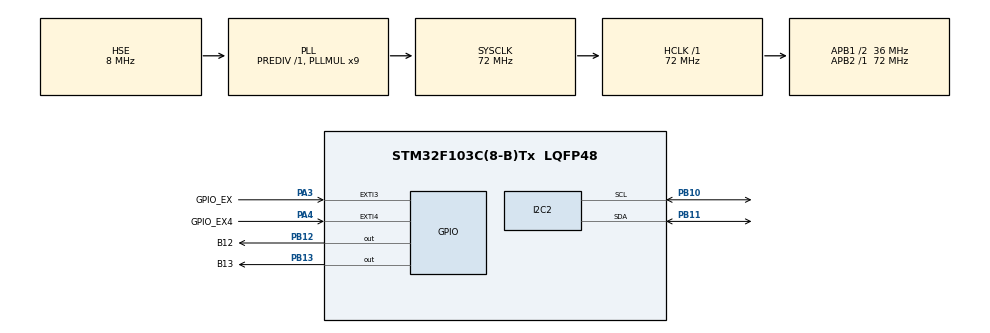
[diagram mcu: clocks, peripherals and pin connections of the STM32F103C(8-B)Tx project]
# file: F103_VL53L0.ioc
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Mcu.Family=STM32F1
Mcu.Name=STM32F103C(8-B)Tx
Mcu.Package=LQFP48
NVIC.EXTI3_IRQn=true\:0\:0\:false\:false\:true\:true\:true\:true
NVIC.EXTI4_IRQn=true\:0\:0\:false\:false\:true\:true\:true\:true
NVIC.PriorityGroup=NVIC_PRIORITYGROUP_4
PA13.Mode=Serial_Wire
PA13.Signal=SYS_JTMS-SWDIO
PA14.Mode=Serial_Wire
PA14.Signal=SYS_JTCK-SWCLK
PA3.GPIO_Label=GPIO_EX
PA3.GPIO_ModeDefaultEXTI=GPIO_MODE_IT_FALLING
PA3.GPIO_PuPd=GPIO_PULLUP
PA3.Signal=GPXTI3
PA4.GPIO_Label=GPIO_EX4
PA4.GPIO_ModeDefaultEXTI=GPIO_MODE_IT_FALLING
PA4.GPIO_PuPd=GPIO_PULLUP
PA4.Signal=GPXTI4
PB10.Mode=I2C
PB10.Signal=I2C2_SCL
PB11.Mode=I2C
PB11.Signal=I2C2_SDA
PB12.GPIO_Label=B12
PB12.Signal=GPIO_Output
PB13.GPIO_Label=B13
PB13.Signal=GPIO_Output
PD0-OSC_IN.Mode=HSE-External-Oscillator
PD0-OSC_IN.Signal=RCC_OSC_IN
PD1-OSC_OUT.Mode=HSE-External-Oscillator
PD1-OSC_OUT.Signal=RCC_OSC_OUT
ProjectManager.HeapSize=0x200
ProjectManager.StackSize=0x400
ProjectManager.TargetToolchain=STM32CubeIDE
RCC.ADCPresc=RCC_ADCPCLK2_DIV6
RCC.AHBFreq_Value=72000000
RCC.APB1CLKDivider=RCC_HCLK_DIV2
RCC.APB1Freq_Value=36000000
RCC.APB1TimFreq_Value=72000000
RCC.APB2Freq_Value=72000000
RCC.APB2TimFreq_Value=72000000
RCC.HCLKFreq_Value=72000000
RCC.PLLMUL=RCC_PLL_MUL9
RCC.PLLSourceVirtual=RCC_PLLSOURCE_HSE
RCC.SYSCLKFreq_VALUE=72000000
RCC.SYSCLKSource=RCC_SYSCLKSOURCE_PLLCLK
RCC.USBFreq_Value=72000000
board=custom

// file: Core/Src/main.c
/* USER CODE BEGIN Header */
/**
  ******************************************************************************
  * @file           : main.c
  * @brief          : Main program body
  ******************************************************************************
  * @attention
  *
  * Copyright (c) 2026 STMicroelectronics.
  * All rights reserved.
  *
  * This software is licensed under terms that can be found in the LICENSE file
  * in the root directory of this software component.
  * If no LICENSE file comes with this software, it is provided AS-IS.
  *
  ******************************************************************************
  */
/* USER CODE END Header */
#include "main.h"

/* USER CODE BEGIN Includes */
#include "vl53l0x_api.h"
#include <stdio.h>

/* USER CODE END Includes */

I2C_HandleTypeDef hi2c2;

/* USER CODE BEGIN PV */

volatile uint8_t  vl53_ready[2] = {0, 0};
volatile uint32_t vl53_irq_cnt[2] = {0, 0};

/* USER CODE END PV */

void SystemClock_Config(void);
static void MX_GPIO_Init(void);
static void MX_I2C2_Init(void);
/* USER CODE BEGIN PFP */
extern void initialise_monitor_handles(void);
/* USER CODE END PFP */

/* USER CODE BEGIN 0 */
VL53L0X_Dev_t MyDevice;
VL53L0X_DEV my_vl53 = &MyDevice;
VL53L0X_Dev_t MyDevice2;
VL53L0X_DEV my_vl53_2 = &MyDevice2;
VL53L0X_Error vl53_err;

void ready_vl53_continue(VL53L0X_DEV dev)
{
	VL53L0X_Error err;
	err = VL53L0X_SetDeviceMode(dev, VL53L0X_DEVICEMODE_CONTINUOUS_RANGING);
	printf("VL53L0X_SetDeviceMode : %d\r\n", err);
	VL53L0X_StartMeasurement(dev);
}

void ready_vl53_newMasure(VL53L0X_DEV dev)
{
	VL53L0X_Error err;
	err = VL53L0X_SetDeviceMode(dev, VL53L0X_DEVICEMODE_CONTINUOUS_RANGING);
	printf("VL53L0X_SetDeviceMode : %d\r\n", err);
	VL53L0X_StartMeasurement(dev);
}

void read_vl53_newMasure(VL53L0X_DEV dev, int idx)
{
	VL53L0X_Error err;
	VL53L0X_RangingMeasurementData_t res = {0};

	while(vl53_irq_cnt[idx] > 0)
	{
		err = VL53L0X_GetRangingMeasurementData(dev, &res);
		if(!err)
			VL53L0X_ClearInterruptMask(dev, 0);

		if(res.RangeStatus == 0 && err == 0)
		{
			printf("[%#x]Dist %d mm (stat:%d)\r\n", dev->I2cDevAddr, res.RangeMilliMeter, res.RangeStatus);
		}
		else
		{
			printf("[%#x] Dist(Err) %d mm (stat:%d)\r\n", dev->I2cDevAddr, res.RangeMilliMeter, res.RangeStatus);
		}

		vl53_irq_cnt[idx]--;
	}
	vl53_ready[idx] = 0;
}

void read_vl53(VL53L0X_DEV dev)
{
	VL53L0X_Error err;
	VL53L0X_RangingMeasurementData_t res = {0};

	err = VL53L0X_PerformSingleRangingMeasurement(dev, &res);
//	printf("Ranging measurement: %d\r\n", err);
	if(res.RangeStatus == 0 && err == 0)
	{
		printf("[%#x]Dist %d mm (stat:%d)\r\n", dev->I2cDevAddr, res.RangeMilliMeter, res.RangeStatus);
	}
	else
	{
		printf("[%#x] Dist(Err) %d mm (stat:%d)\r\n", dev->I2cDevAddr, res.RangeMilliMeter, res.RangeStatus);
	}

	/*
	 * NOTE 09.20 자꾸 측정오류 2가 나옴
	 * RangeMillimeter(밀리미터연산값)가 자꾸 200 배수로만 나옴
	 *
	 * 257 514 771 좌우 바이트 같음
	 * 257 00000001 00000001
	 * 514 00000010 00000010
	 * 771 00000011 00000011
	 *
	 *single 1E:02 1F:6C => 620
	 *Dist 514 mm (stat:0)
	 *>>>>> st:0 : 5B 06 AE 04 02 89 00 C8 00 1A 02 02
	 *
	 *single 1E:03 1F:4B => 843
	 *Dist 771 mm (stat:0)
	 *>>>>> st:0 : 5B 06 AE 04 02 3B 00 AF 00 1A 03 03
	 *
	 *hi값이 12번째 비트에 복사됨, 길이 16정도로 늘려보니 마지막이 비긴 해도 11 12번째는 잘 들어오는듯
	 *
	 */

	//	printf("raw sig:%lu spad:%lu\r\n", res.SignalRateRtnMegaCps, res.EffectiveSpadRtnCount);
//    uint8_t hi = 0, lo = 0;
//    uint8_t blk[16] = {0};
//    int blk_len = sizeof(blk)/sizeof(blk[0]);
//    VL53L0X_RdByte(dev, 0x1E, &hi); // 10 11번 인덱스 읽어서 뭐 하는듯 함
//    VL53L0X_RdByte(dev, 0x1F, &lo);
//
//    printf("single 1E:%02X 1F:%02X => %d \r\n", hi, lo, (hi<<8)|lo);
//
//    VL53L0X_ReadMulti(dev, 0x14, blk, blk_len); // 시작위치부터 다읽어보기
//    printf("blk:");
//    for (int i = 0; i < blk_len; i++)
//    	printf(" %02X", blk[i]);
//
//    printf("\r\n-----------------\r\n");

// =========== DEBUG END =========================

//	VL53L0X_StopMeasurement(dev);
}

void xshut_set(GPIO_TypeDef* port, uint16_t pin)
{
	HAL_GPIO_WritePin(port, pin, GPIO_PIN_RESET);
	HAL_Delay(10);
	HAL_GPIO_WritePin(port, pin, GPIO_PIN_SET);
	HAL_Delay(10);
}

/* USER CODE END 0 */

int main(void)
{

  /* USER CODE BEGIN 1 */
	initialise_monitor_handles();
  /* USER CODE END 1 */

  /* MCU Configuration--------------------------------------------------------*/

  /* Reset of all peripherals, Initializes the Flash interface and the Systick. */
  HAL_Init();

  /* Configure the system clock */
  SystemClock_Config();

  /* Initialize all configured peripherals */
  MX_GPIO_Init();
  MX_I2C2_Init();
  /* USER CODE BEGIN 2 */
  // #1 적외선 준비 0x60
  // xshut on
  xshut_set(B12_GPIO_Port, B12_Pin);

  // Device Init
  my_vl53->I2cDevAddr = 0x52;
  vl53_err = VL53L0X_DataInit(my_vl53);
  printf("DataInit: %d\r\n", vl53_err);
  vl53_err = VL53L0X_StaticInit(my_vl53);
  printf("StaticInit: %d\r\n", vl53_err);

  vl53_err = VL53L0X_SetDeviceAddress(my_vl53, 0x60);
  printf("SetDeviceAddress: %d\r\n", vl53_err);
  my_vl53->I2cDevAddr = 0x60;

  // set Dev Mode
//  VL53L0X_SetDeviceMode(my_vl53, VL53L0X_DEVICEMODE_SINGLE_RANGING);

  // -----------------------
  // 09.20 해결부분
  uint32_t refSpadCount; //3
  uint8_t isApertureSpads, VhvSettings, PhaseCal; //0 29 1

  vl53_err = VL53L0X_PerformRefSpadManagement(my_vl53, &refSpadCount, &isApertureSpads);
  printf("SpadMgmt: %d (count:%lu ap:%d)\r\n", vl53_err, refSpadCount, isApertureSpads);

  vl53_err = VL53L0X_PerformRefCalibration(my_vl53, &VhvSettings, &PhaseCal);
  printf("RefCal: %d (vhv:%d phase:%d)\r\n", vl53_err, VhvSettings, PhaseCal);

  VL53L0X_SetGpioConfig(my_vl53, 0, VL53L0X_DEVICEMODE_CONTINUOUS_RANGING,
		  VL53L0X_GPIOFUNCTIONALITY_NEW_MEASURE_READY, VL53L0X_INTERRUPTPOLARITY_LOW);

//  VL53L0X_SetReferenceSpads(my_vl53, 3, 0);
//  VL53L0X_SetRefCalibration(my_vl53, 29, 1);
  // ----------------------------------------------------------------------------------------
  // #2 적외선 0x62
  xshut_set(B13_GPIO_Port, B13_Pin);

  // Device Init
  my_vl53_2->I2cDevAddr = 0x52;
  vl53_err = VL53L0X_DataInit(my_vl53_2);
  printf("DataInit: %d\r\n", vl53_err);
  vl53_err = VL53L0X_StaticInit(my_vl53_2);
  printf("StaticInit: %d\r\n", vl53_err);

  vl53_err = VL53L0X_SetDeviceAddress(my_vl53_2, 0x62);
  printf("SetDeviceAddress: %d\r\n", vl53_err);
  my_vl53_2->I2cDevAddr = 0x62;

  vl53_err = VL53L0X_PerformRefSpadManagement(my_vl53_2, &refSpadCount, &isApertureSpads);
  printf("SpadMgmt: %d (count:%lu ap:%d)\r\n", vl53_err, refSpadCount, isApertureSpads);

  vl53_err = VL53L0X_PerformRefCalibration(my_vl53_2, &VhvSettings, &PhaseCal);
  printf("RefCal: %d (vhv:%d phase:%d)\r\n", vl53_err, VhvSettings, PhaseCal);

  VL53L0X_SetGpioConfig(my_vl53_2, 0, VL53L0X_DEVICEMODE_CONTINUOUS_RANGING,
		  VL53L0X_GPIOFUNCTIONALITY_NEW_MEASURE_READY, VL53L0X_INTERRUPTPOLARITY_LOW);
//  VL53L0X_SetInterruptThresholds(my_vl53_2, VL53L0X_DEVICEMODE_CONTINUOUS_RANGING,  100 << 16, 0);

  // =============================================
  ready_vl53_newMasure(my_vl53);
  ready_vl53_newMasure(my_vl53_2);
  /* USER CODE END 2 */

  /* Infinite loop */
  while (1)
  {

    /* USER CODE BEGIN 3 */
	  if(vl53_ready[0])
		  read_vl53_newMasure(my_vl53, 0);

	  if(vl53_ready[1])
		  read_vl53_newMasure(my_vl53_2, 1);
  }
  /* USER CODE END 3 */
}

void SystemClock_Config(void)
{
  RCC_OscInitTypeDef RCC_OscInitStruct = {0};
  RCC_ClkInitTypeDef RCC_ClkInitStruct = {0};

  /** Initializes the RCC Oscillators according to the specified parameters
  * in the RCC_OscInitTypeDef structure.
  */
  RCC_OscInitStruct.OscillatorType = RCC_OSCILLATORTYPE_HSE;
  RCC_OscInitStruct.HSEState = RCC_HSE_ON;
  RCC_OscInitStruct.HSEPredivValue = RCC_HSE_PREDIV_DIV1;
  RCC_OscInitStruct.HSIState = RCC_HSI_ON;
  RCC_OscInitStruct.PLL.PLLState = RCC_PLL_ON;
  RCC_OscInitStruct.PLL.PLLSource = RCC_PLLSOURCE_HSE;
  RCC_OscInitStruct.PLL.PLLMUL = RCC_PLL_MUL9;
  if (HAL_RCC_OscConfig(&RCC_OscInitStruct) != HAL_OK)
  {
    Error_Handler();
  }

  /** Initializes the CPU, AHB and APB buses clocks
  */
  RCC_ClkInitStruct.ClockType = RCC_CLOCKTYPE_HCLK|RCC_CLOCKTYPE_SYSCLK
                              |RCC_CLOCKTYPE_PCLK1|RCC_CLOCKTYPE_PCLK2;
  RCC_ClkInitStruct.SYSCLKSource = RCC_SYSCLKSOURCE_PLLCLK;
  RCC_ClkInitStruct.AHBCLKDivider = RCC_SYSCLK_DIV1;
  RCC_ClkInitStruct.APB1CLKDivider = RCC_HCLK_DIV2;
  RCC_ClkInitStruct.APB2CLKDivider = RCC_HCLK_DIV1;

  if (HAL_RCC_ClockConfig(&RCC_ClkInitStruct, FLASH_LATENCY_2) != HAL_OK)
  {
    Error_Handler();
  }
}

static void MX_I2C2_Init(void)
{

  hi2c2.Instance = I2C2;
  hi2c2.Init.ClockSpeed = 100000;
  hi2c2.Init.DutyCycle = I2C_DUTYCYCLE_2;
  hi2c2.Init.OwnAddress1 = 0;
  hi2c2.Init.AddressingMode = I2C_ADDRESSINGMODE_7BIT;
  hi2c2.Init.DualAddressMode = I2C_DUALADDRESS_DISABLE;
  hi2c2.Init.OwnAddress2 = 0;
  hi2c2.Init.GeneralCallMode = I2C_GENERALCALL_DISABLE;
  hi2c2.Init.NoStretchMode = I2C_NOSTRETCH_DISABLE;
  if (HAL_I2C_Init(&hi2c2) != HAL_OK)
  {
    Error_Handler();
  }

}

static void MX_GPIO_Init(void)
{
  GPIO_InitTypeDef GPIO_InitStruct = {0};

  /* GPIO Ports Clock Enable */
  __HAL_RCC_GPIOD_CLK_ENABLE();
  __HAL_RCC_GPIOA_CLK_ENABLE();
  __HAL_RCC_GPIOB_CLK_ENABLE();

  /*Configure GPIO pin Output Level */
  HAL_GPIO_WritePin(GPIOB, B12_Pin|B13_Pin, GPIO_PIN_RESET);

  /*Configure GPIO pins : GPIO_EX_Pin GPIO_EX4_Pin */
  GPIO_InitStruct.Pin = GPIO_EX_Pin|GPIO_EX4_Pin;
  GPIO_InitStruct.Mode = GPIO_MODE_IT_FALLING;
  GPIO_InitStruct.Pull = GPIO_PULLUP;
  HAL_GPIO_Init(GPIOA, &GPIO_InitStruct);

  /*Configure GPIO pins : B12_Pin B13_Pin */
  GPIO_InitStruct.Pin = B12_Pin|B13_Pin;
  GPIO_InitStruct.Mode = GPIO_MODE_OUTPUT_PP;
  GPIO_InitStruct.Pull = GPIO_NOPULL;
  GPIO_InitStruct.Speed = GPIO_SPEED_FREQ_LOW;
  HAL_GPIO_Init(GPIOB, &GPIO_InitStruct);

  /* EXTI interrupt init*/
  HAL_NVIC_SetPriority(EXTI3_IRQn, 0, 0);
  HAL_NVIC_EnableIRQ(EXTI3_IRQn);

  HAL_NVIC_SetPriority(EXTI4_IRQn, 0, 0);
  HAL_NVIC_EnableIRQ(EXTI4_IRQn);

}

/* USER CODE BEGIN 4 */
void HAL_GPIO_EXTI_Callback(uint16_t GPIO_pin)
{
    if (GPIO_pin == GPIO_EX_Pin) {
        vl53_ready[0] = 1;
        vl53_irq_cnt[0]++;
    }
    else if (GPIO_pin == GPIO_EX4_Pin) {
        vl53_ready[1] = 1;
        vl53_irq_cnt[1]++;
    }
}

/* USER CODE END 4 */

void Error_Handler(void)
{
  __disable_irq();
  while (1)
  {
  }
}
